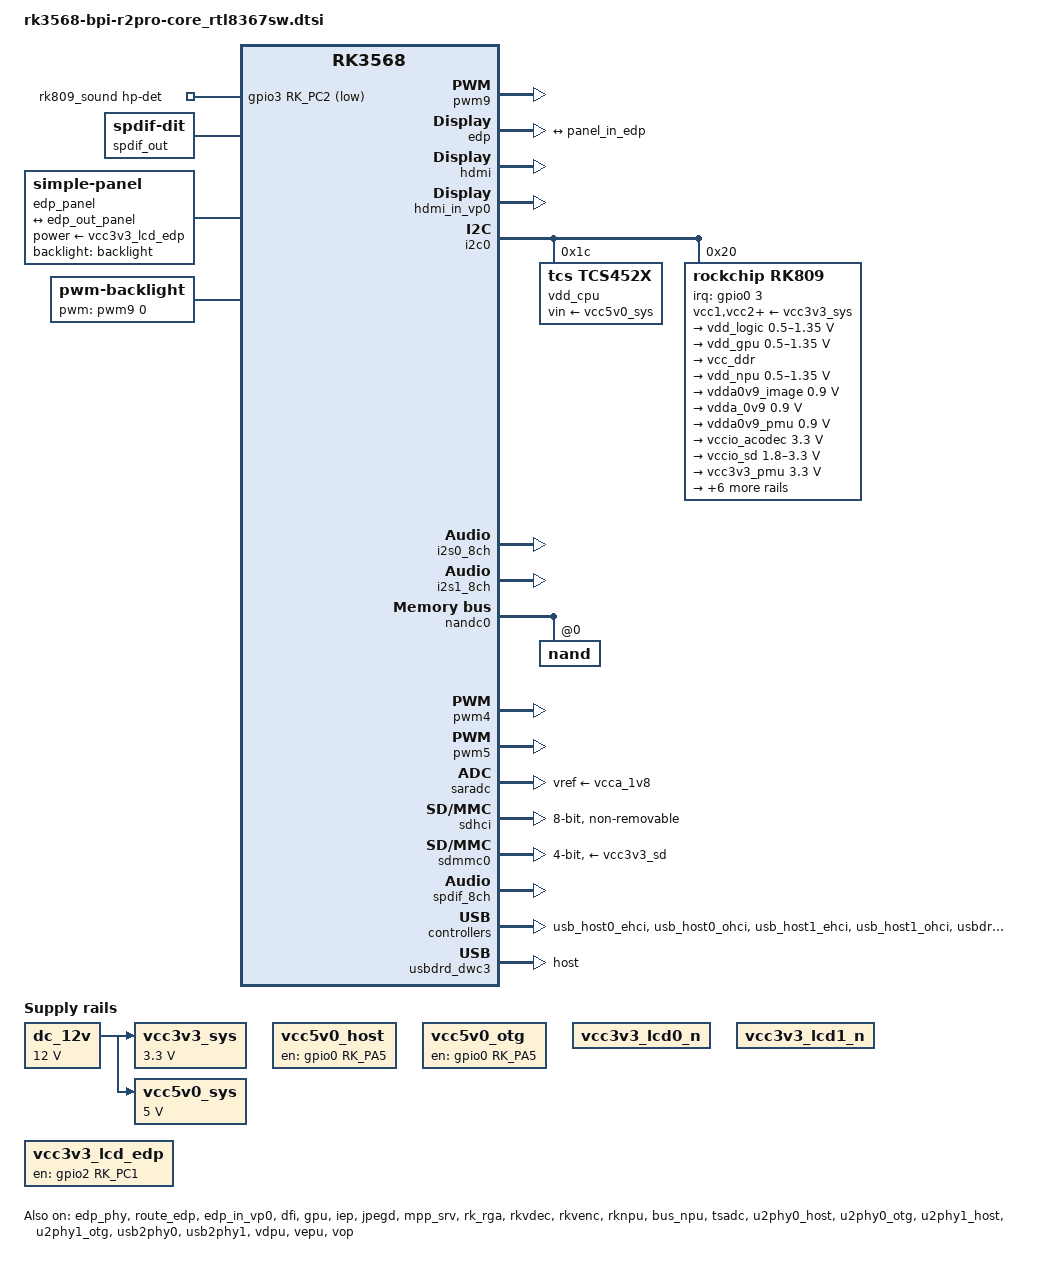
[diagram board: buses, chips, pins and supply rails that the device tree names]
// SPDX-License-Identifier: (GPL-2.0+ OR MIT)
/*
 * Copyright (c) 2020 Rockchip Electronics Co., Ltd.
 *
 */

 /dts-v1/;

#include <dt-bindings/gpio/gpio.h>
#include <dt-bindings/pwm/pwm.h>
#include <dt-bindings/pinctrl/rockchip.h>
#include <dt-bindings/input/rk-input.h>
#include <dt-bindings/display/drm_mipi_dsi.h>
#include <dt-bindings/sensor-dev.h>
#include <dt-bindings/display/media-bus-format.h>
#include "rk3568.dtsi"
#include "rk3568-linux.dtsi"

/ {
	compatible = "rockchip,rk3568-bpi-r2pro-core", "rockchip,rk3568";

	audiopwmout_diff: audiopwmout-diff {
		status = "disabled";
		compatible = "simple-audio-card";
		simple-audio-card,format = "i2s";
		simple-audio-card,name = "rockchip,audiopwmout-diff";
		simple-audio-card,mclk-fs = <256>;
		simple-audio-card,bitclock-master = <&master>;
		simple-audio-card,frame-master = <&master>;
		simple-audio-card,cpu {
			sound-dai = <&i2s3_2ch>;
		};
		master: simple-audio-card,codec {
			sound-dai = <&dig_acodec>;
		};
	};

	dc_12v: dc-12v {
		compatible = "regulator-fixed";
		regulator-name = "dc_12v";
		regulator-always-on;
		regulator-boot-on;
		regulator-min-microvolt = <12000000>;
		regulator-max-microvolt = <12000000>;
	};

	hdmi_sound: hdmi-sound {
		compatible = "simple-audio-card";
		simple-audio-card,format = "i2s";
		simple-audio-card,mclk-fs = <128>;
		simple-audio-card,name = "rockchip,hdmi";
		status = "disabled";

		simple-audio-card,cpu {
				sound-dai = <&i2s0_8ch>;
		};
		simple-audio-card,codec {
				sound-dai = <&hdmi>;
		};
	};

	pdmics: dummy-codec {
		status = "disabled";
		compatible = "rockchip,dummy-codec";
		#sound-dai-cells = <0>;
	};

	pdm_mic_array: pdm-mic-array {
		status = "disabled";
		compatible = "simple-audio-card";
		simple-audio-card,name = "rockchip,pdm-mic-array";
		simple-audio-card,cpu {
			sound-dai = <&pdm>;
		};
		simple-audio-card,codec {
			sound-dai = <&pdmics>;
		};
	};

	rk809_sound: rk809-sound {
		status = "okay";
		compatible = "simple-audio-card";
		simple-audio-card,format = "i2s";
		simple-audio-card,name = "rockchip,rk809-codec";
		simple-audio-card,mclk-fs = <256>;

		simple-audio-card,widgets =
			"Microphone", "Mic Jack",
			"Headphone", "Headphones",
			"Speaker", "Speaker";
		simple-audio-card,routing =
			"MICL", "Mic Jack",
			"Headphones", "HPOL",
			"Headphones", "HPOR",
			"Speaker", "SPKO";
		simple-audio-card,hp-det-gpio = <&gpio3 RK_PC2 GPIO_ACTIVE_LOW>; //HP_DET_L_GPIO3_C2

		simple-audio-card,cpu {
			sound-dai = <&i2s1_8ch>;
		};
		simple-audio-card,codec {
			sound-dai = <&rk809_codec>;
		};
	};

	spdif-sound {
		status = "okay";
		compatible = "simple-audio-card";
		simple-audio-card,name = "ROCKCHIP,SPDIF";
		simple-audio-card,cpu {
				sound-dai = <&spdif_8ch>;
		};
		simple-audio-card,codec {
				sound-dai = <&spdif_out>;
		};
	};

	spdif_out: spdif-out {
			status = "okay";
			compatible = "linux,spdif-dit";
			#sound-dai-cells = <0>;
	};

	vad_sound: vad-sound {
		status = "disabled";
		compatible = "rockchip,multicodecs-card";
		rockchip,card-name = "rockchip,rk3568-vad";
		rockchip,cpu = <&i2s1_8ch>;
		rockchip,codec = <&rk809_codec>, <&vad>;
	};

	vcc3v3_sys: vcc3v3-sys {
		compatible = "regulator-fixed";
		regulator-name = "vcc3v3_sys";
		regulator-always-on;
		regulator-boot-on;
		regulator-min-microvolt = <3300000>;
		regulator-max-microvolt = <3300000>;
		vin-supply = <&dc_12v>;
	};

	vcc5v0_sys: vcc5v0-sys {
		compatible = "regulator-fixed";
		regulator-name = "vcc5v0_sys";
		regulator-always-on;
		regulator-boot-on;
		regulator-min-microvolt = <5000000>;
		regulator-max-microvolt = <5000000>;
		vin-supply = <&dc_12v>;
	};

	vcc5v0_host: vcc5v0-host-regulator {
		compatible = "regulator-fixed";
		enable-active-high;
		gpio = <&gpio0 RK_PA5 GPIO_ACTIVE_HIGH>;
		pinctrl-names = "default";
		pinctrl-0 = <&vcc5v0_host_en>;
		regulator-name = "vcc5v0_host";
		regulator-always-on;
	};

	vcc5v0_otg: vcc5v0-otg-regulator {
		compatible = "regulator-fixed";
		enable-active-high;
		gpio = <&gpio0 RK_PA5 GPIO_ACTIVE_HIGH>;
		pinctrl-names = "default";
		pinctrl-0 = <&vcc5v0_otg_en>;
		regulator-name = "vcc5v0_otg";
		regulator-always-on;
	};

	vcc3v3_lcd0_n: vcc3v3-lcd0-n {
		compatible = "regulator-fixed";
		regulator-name = "vcc3v3_lcd0_n";
		regulator-boot-on;
		regulator-state-mem {
			regulator-off-in-suspend;
		};
	};

	vcc3v3_lcd1_n: vcc3v3-lcd1-n {
		compatible = "regulator-fixed";
		regulator-name = "vcc3v3_lcd1_n";
		regulator-boot-on;
		regulator-state-mem {
			regulator-off-in-suspend;
		};
	};

	vcc3v3_lcd_edp: vcc3v3-lcd-edp {
		compatible = "regulator-fixed";
		gpio = <&gpio2 RK_PC1 GPIO_ACTIVE_HIGH>;
		enable-active-high;
		regulator-name = "vcc3v3_lcd_edp";
		regulator-boot-on;
		regulator-state-mem {
			regulator-off-in-suspend;
		};
	};

	edp_panel: edp-panel {
		compatible = "simple-panel";
		status = "okay";
		power-supply = <&vcc3v3_lcd_edp>;
		//enable-gpios = <&gpio1 RK_PA4 GPIO_ACTIVE_LOW>;  // eDP_BL_EN
		backlight = <&backlight>;
		bus-format = <MEDIA_BUS_FMT_RGB888_1X24>;
		bpc = <8>;

		display-timings {
			native-mode = <&timing0>;

			timing0: timing0 {
				clock-frequency = <138000000>;
				hactive = <1920>;
				vactive = <1080>;
				hfront-porch = <40>;
				hsync-len = <40>;
				hback-porch = <80>;
				vfront-porch = <16>;
				vsync-len = <8>;
				vback-porch = <16>;
				hsync-active = <0>;
				vsync-active = <0>;
				de-active = <0>;
				pixelclk-active = <0>;
			};
		};

		ports {
			panel_in_edp: endpoint {
				remote-endpoint = <&edp_out_panel>;
			};
		};
	};

       backlight: backlight {
	       status = "okay";
	       compatible = "pwm-backlight";
	       pwms = <&pwm9 0 500000 0>;
	       brightness-levels = < 
                          0   1   2   3   4   5   6   7   
                          8   9  10  11  12  13  14  15  
                         16  17  18  19  20  21  22  23
                         24  25  26  27  28  29  30  31
                         32  33  34  35  36  37  38  39
                         40  41  42  43  44  45  46  47
                         48  49  50  51  52  53  54  55
                         56  57  58  59  60  61  62  63
                         64  65  66  67  68  69  70  71
                         72  73  74  75  76  77  78  79
                         80  81  82  83  84  85  86  87
                         88  89  90  91  92  93  94  95
                         96  97  98  99 100 101 102 103
                        104 105 106 107 108 109 110 111
                        112 113 114 115 116 117 118 119
                        120 121 122 123 124 125 126 127
                        128 129 130 131 132 133 134 135
                        136 137 138 139 140 141 142 143
                        144 145 146 147 148 149 150 151
                        152 153 154 155 156 157 158 159
                        160 161 162 163 164 165 166 167
                        168 169 170 171 172 173 174 175
                        176 177 178 179 180 181 182 183
                        184 185 186 187 188 189 190 191
                        192 193 194 195 196 197 198 199
                        200 201 202 203 204 205 206 207
                        208 209 210 211 212 213 214 215
                        216 217 218 219 220 221 222 223
                        224 225 226 227 228 229 230 231
                        232 233 234 235 236 237 238 239
                        240 241 242 243 244 245 246 247
                        248 249 250 251 252 253 254 255>;
               default-brightness-level = <200>;
       };

	test-power {
		status = "okay";
	};
};

&pwm9 {
	status = "okay";
};

&edp {
	status = "okay";
	//hpd-gpios = <&gpio0 RK_PC2 GPIO_ACTIVE_HIGH>;
	force-hpd;

	ports {
		edp_out: port@1 {
			reg = <1>;
			#address-cells = <1>;
			#size-cells = <0>;

			edp_out_panel: endpoint@0 {
				reg = <0>;
				remote-endpoint = <&panel_in_edp>;
			};
		};
	};
};

&edp_phy {
	status = "okay";
};

&route_edp {
	status = "okay";
};

&edp_in_vp0 {
	status = "okay";
};

&edp_in_vp1 {
	status = "disabled";
};

&cpu0 {
	cpu-supply = <&vdd_cpu>;
};

&dfi {
	status = "okay";
};

&dmc {
	center-supply = <&vdd_logic>;
	status = "disabled";
};

&gpu {
	mali-supply = <&vdd_gpu>;
	status = "okay";
};

&hdmi {
	status = "okay";
};

&hdmi_in_vp0 {
	status = "okay";
};

&hdmi_in_vp1 {
	status = "disabled";
};

&hdmi_sound {
	status = "disabled";
};

&i2c0 {
	status = "okay";

	vdd_cpu: tcs4525@1c {
		compatible = "tcs,tcs452x";
		reg = <0x1c>;
		vin-supply = <&vcc5v0_sys>;
		regulator-compatible = "fan53555-reg";
		regulator-name = "vdd_cpu";
		regulator-min-microvolt = <712500>;
		regulator-max-microvolt = <1390000>;
		regulator-ramp-delay = <2300>;
		fcs,suspend-voltage-selector = <1>;
		regulator-boot-on;
		regulator-always-on;
		regulator-state-mem {
			regulator-off-in-suspend;
		};
	};

	rk809: pmic@20 {
		compatible = "rockchip,rk809";
		reg = <0x20>;
		interrupt-parent = <&gpio0>;
		interrupts = <3 IRQ_TYPE_LEVEL_LOW>;

		pinctrl-names = "default", "pmic-sleep",
				"pmic-power-off", "pmic-reset";
		pinctrl-0 = <&pmic_int>;
		pinctrl-1 = <&soc_slppin_slp>, <&rk817_slppin_slp>;
		pinctrl-2 = <&soc_slppin_gpio>, <&rk817_slppin_pwrdn>;
		pinctrl-3 = <&soc_slppin_gpio>, <&rk817_slppin_rst>;

		rockchip,system-power-controller;
		wakeup-source;
		#clock-cells = <1>;
		clock-output-names = "rk808-clkout1", "rk808-clkout2";
		//fb-inner-reg-idxs = <2>;
		/* 1: rst regs (default in codes), 0: rst the pmic */
		pmic-reset-func = <0>;
		/* not save the PMIC_POWER_EN register in uboot */
		not-save-power-en = <1>;

		vcc1-supply = <&vcc3v3_sys>;
		vcc2-supply = <&vcc3v3_sys>;
		vcc3-supply = <&vcc3v3_sys>;
		vcc4-supply = <&vcc3v3_sys>;
		vcc5-supply = <&vcc3v3_sys>;
		vcc6-supply = <&vcc3v3_sys>;
		vcc7-supply = <&vcc3v3_sys>;
		vcc8-supply = <&vcc3v3_sys>;
		vcc9-supply = <&vcc3v3_sys>;

		pwrkey {
			status = "okay";
		};

		pinctrl_rk8xx: pinctrl_rk8xx {
			gpio-controller;
			#gpio-cells = <2>;

			rk817_slppin_null: rk817_slppin_null {
				pins = "gpio_slp";
				function = "pin_fun0";
			};

			rk817_slppin_slp: rk817_slppin_slp {
				pins = "gpio_slp";
				function = "pin_fun1";
			};

			rk817_slppin_pwrdn: rk817_slppin_pwrdn {
				pins = "gpio_slp";
				function = "pin_fun2";
			};

			rk817_slppin_rst: rk817_slppin_rst {
				pins = "gpio_slp";
				function = "pin_fun3";
			};
		};

		regulators {
			vdd_logic: DCDC_REG1 {
				regulator-always-on;
				regulator-boot-on;
				regulator-min-microvolt = <500000>;
				regulator-max-microvolt = <1350000>;
				regulator-init-microvolt = <900000>;
				regulator-ramp-delay = <6001>;
				regulator-initial-mode = <0x2>;
				regulator-name = "vdd_logic";
				regulator-state-mem {
					regulator-off-in-suspend;
				};
			};

			vdd_gpu: DCDC_REG2 {
				regulator-always-on;
				regulator-boot-on;
				regulator-min-microvolt = <500000>;
				regulator-max-microvolt = <1350000>;
				regulator-init-microvolt = <900000>;
				regulator-ramp-delay = <6001>;
				regulator-initial-mode = <0x2>;
				regulator-name = "vdd_gpu";
				regulator-state-mem {
					regulator-off-in-suspend;
				};
			};

			vcc_ddr: DCDC_REG3 {
				regulator-always-on;
				regulator-boot-on;
				regulator-initial-mode = <0x2>;
				regulator-name = "vcc_ddr";
				regulator-state-mem {
					regulator-on-in-suspend;
				};
			};

			vdd_npu: DCDC_REG4 {
				regulator-always-on;
				regulator-boot-on;
				regulator-min-microvolt = <500000>;
				regulator-max-microvolt = <1350000>;
				regulator-init-microvolt = <900000>;
				regulator-ramp-delay = <6001>;
				regulator-initial-mode = <0x2>;
				regulator-name = "vdd_npu";
				regulator-state-mem {
					regulator-off-in-suspend;
				};
			};

			vdda0v9_image: LDO_REG1 {
				regulator-boot-on;
				regulator-always-on;
				regulator-min-microvolt = <900000>;
				regulator-max-microvolt = <900000>;
				regulator-name = "vdda0v9_image";
				regulator-state-mem {
					regulator-off-in-suspend;
				};
			};

			vdda_0v9: LDO_REG2 {
				regulator-always-on;
				regulator-boot-on;
				regulator-min-microvolt = <900000>;
				regulator-max-microvolt = <900000>;
				regulator-name = "vdda_0v9";
				regulator-state-mem {
					regulator-off-in-suspend;
				};
			};

			vdda0v9_pmu: LDO_REG3 {
				regulator-always-on;
				regulator-boot-on;
				regulator-min-microvolt = <900000>;
				regulator-max-microvolt = <900000>;
				regulator-name = "vdda0v9_pmu";
				regulator-state-mem {
					regulator-on-in-suspend;
					regulator-suspend-microvolt = <900000>;
				};
			};

			vccio_acodec: LDO_REG4 {
				regulator-always-on;
				regulator-boot-on;
				regulator-min-microvolt = <3300000>;
				regulator-max-microvolt = <3300000>;
				regulator-name = "vccio_acodec";
				regulator-state-mem {
					regulator-off-in-suspend;
				};
			};

			vccio_sd: LDO_REG5 {
				regulator-always-on;
				regulator-boot-on;
				regulator-min-microvolt = <1800000>;
				regulator-max-microvolt = <3300000>;
				regulator-name = "vccio_sd";
				regulator-state-mem {
					regulator-off-in-suspend;
				};
			};

			vcc3v3_pmu: LDO_REG6 {
				regulator-always-on;
				regulator-boot-on;
				regulator-min-microvolt = <3300000>;
				regulator-max-microvolt = <3300000>;
				regulator-name = "vcc3v3_pmu";
				regulator-state-mem {
					regulator-on-in-suspend;
					regulator-suspend-microvolt = <3300000>;
				};
			};

			vcca_1v8: LDO_REG7 {
				regulator-always-on;
				regulator-boot-on;
				regulator-min-microvolt = <1800000>;
				regulator-max-microvolt = <1800000>;
				regulator-name = "vcca_1v8";
				regulator-state-mem {
					regulator-off-in-suspend;
				};
			};

			vcca1v8_pmu: LDO_REG8 {
				regulator-always-on;
				regulator-boot-on;
				regulator-min-microvolt = <1800000>;
				regulator-max-microvolt = <1800000>;
				regulator-name = "vcca1v8_pmu";
				regulator-state-mem {
					regulator-on-in-suspend;
					regulator-suspend-microvolt = <1800000>;
				};
			};

			vcca1v8_image: LDO_REG9 {
				regulator-always-on;
				regulator-boot-on;
				regulator-min-microvolt = <1800000>;
				regulator-max-microvolt = <1800000>;
				regulator-name = "vcca1v8_image";
				regulator-state-mem {
					regulator-off-in-suspend;
				};
			};

			vcc_1v8: DCDC_REG5 {
				regulator-always-on;
				regulator-boot-on;
				regulator-min-microvolt = <1800000>;
				regulator-max-microvolt = <1800000>;
				regulator-name = "vcc_1v8";
				regulator-state-mem {
					regulator-off-in-suspend;
				};
			};

			vcc_3v3: SWITCH_REG1 {
				regulator-always-on;
				regulator-boot-on;
				regulator-name = "vcc_3v3";
				regulator-state-mem {
					regulator-off-in-suspend;
				};
			};

			vcc3v3_sd: SWITCH_REG2 {
				regulator-always-on;
				regulator-boot-on;
				regulator-name = "vcc3v3_sd";
				regulator-state-mem {
					regulator-off-in-suspend;
				};
			};
		};

		rk809_codec: codec {
			#sound-dai-cells = <0>;
			compatible = "rockchip,rk809-codec", "rockchip,rk817-codec";
			clocks = <&cru I2S1_MCLKOUT>;
			clock-names = "mclk";
			assigned-clocks = <&cru I2S1_MCLKOUT>, <&cru I2S1_MCLK_TX_IOE>;
			assigned-clock-rates = <12288000>;
			assigned-clock-parents = <&cru I2S1_MCLKOUT_TX>, <&cru I2S1_MCLKOUT_TX>;
			pinctrl-names = "default";
			pinctrl-0 = <&i2s1m0_mclk>;
			hp-volume = <20>;
			spk-volume = <3>;
			mic-in-differential;
			status = "okay";
		};
	};
};

&i2s0_8ch {
	status = "okay";
};

&i2s1_8ch {
	status = "okay";
	rockchip,clk-trcm = <1>;
	pinctrl-names = "default";
	pinctrl-0 = <&i2s1m0_sclktx
		     &i2s1m0_lrcktx
		     &i2s1m0_sdi0
		     &i2s1m0_sdo0>;
};

&iep {
	status = "okay";
};

&iep_mmu {
	status = "okay";
};

&jpegd {
	status = "okay";
};

&jpegd_mmu {
	status = "okay";
};

&mpp_srv {
	status = "okay";
};

&nandc0 {
	#address-cells = <1>;
	#size-cells = <0>;
	status = "okay";

	nand@0 {
		reg = <0>;
		nand-bus-width = <8>;
		nand-ecc-mode = "hw";
		nand-ecc-strength = <16>;
		nand-ecc-step-size = <1024>;
	};
};

&pmu_io_domains {
	status = "okay";
	pmuio1-supply = <&vcc3v3_pmu>;
	pmuio2-supply = <&vcc3v3_pmu>;
	vccio1-supply = <&vccio_acodec>;
	vccio3-supply = <&vccio_sd>;
	vccio4-supply = <&vcc_1v8>;
	vccio5-supply = <&vcc_3v3>;
	vccio6-supply = <&vcc_3v3>;
	vccio7-supply = <&vcc_3v3>;
};

&pwm4 {
	status = "okay";
};

&pwm5 {
	status = "okay";
};

&rk_rga {
	status = "okay";
};

&rkvdec {
	status = "okay";
};

&rkvdec_mmu {
	status = "okay";
};

&rkvenc {
	venc-supply = <&vdd_logic>;
	status = "okay";
};

&rkvenc_mmu {
	status = "okay";
};

&rknpu {
	rknpu-supply = <&vdd_npu>;
	status = "okay";
};

&rknpu_mmu {
	status = "okay";
};

&bus_npu {
	bus-supply = <&vdd_logic>;
	pvtm-supply = <&vdd_cpu>;
	status = "okay";
};

&saradc {
	status = "okay";
	vref-supply = <&vcca_1v8>;
};

&sdhci {
	bus-width = <8>;
	supports-emmc;
	non-removable;
	max-frequency = <200000000>;
	status = "okay";
};

&sdmmc0 {
	max-frequency = <150000000>;
	supports-sd;
	bus-width = <4>;
	cap-mmc-highspeed;
	cap-sd-highspeed;
	disable-wp;
	sd-uhs-sdr104;
	vmmc-supply = <&vcc3v3_sd>;
	vqmmc-supply = <&vccio_sd>;
	pinctrl-names = "default";
	pinctrl-0 = <&sdmmc0_bus4 &sdmmc0_clk &sdmmc0_cmd &sdmmc0_det>;
	status = "okay";
};

&spdif_8ch {
	status = "okay";
};

&tsadc {
	status = "okay";
};

&u2phy0_host {
	phy-supply = <&vcc5v0_host>;
	status = "okay";
};

&u2phy0_otg {
	vbus-supply = <&vcc5v0_otg>;
	status = "okay";
};

&u2phy1_host {
	phy-supply = <&vcc5v0_host>;
	status = "okay";
};

&u2phy1_otg {
	phy-supply = <&vcc5v0_host>;
	status = "okay";
};

&usb2phy0 {
	status = "okay";
};

&usb2phy1 {
	status = "okay";
};

&usb_host0_ehci {
	status = "okay";
};

&usb_host0_ohci {
	status = "okay";
};

&usb_host1_ehci {
	status = "okay";
};

&usb_host1_ohci {
	status = "okay";
};

&usbdrd_dwc3 {
	dr_mode = "host";
	extcon = <&usb2phy0>;
	status = "okay";
};

&usbdrd30 {
	status = "okay";
};

&usbhost_dwc3 {
	status = "okay";
};

&usbhost30 {
	status = "okay";
};

&vad {
	rockchip,audio-src = <&i2s1_8ch>;
	rockchip,buffer-time-ms = <128>;
	rockchip,det-channel = <0>;
	rockchip,mode = <0>;
};

&vdpu {
	status = "okay";
};

&vdpu_mmu {
	status = "okay";
};

&vepu {
	status = "okay";
};

&vepu_mmu {
	status = "okay";
};

&vop {
	status = "okay";
	assigned-clocks = <&cru DCLK_VOP0>, <&cru DCLK_VOP1>;
	assigned-clock-parents = <&pmucru PLL_HPLL>, <&cru PLL_VPLL>;
};

&vop_mmu {
	status = "okay";
};

&pinctrl {

	pmic {
		pmic_int: pmic_int {
			rockchip,pins =
				<0 RK_PA3 RK_FUNC_GPIO &pcfg_pull_up>;
		};

		soc_slppin_gpio: soc_slppin_gpio {
			rockchip,pins =
				<0 RK_PA2 RK_FUNC_GPIO &pcfg_output_low_pull_down>;
		};

		soc_slppin_slp: soc_slppin_slp {
			rockchip,pins =
				<0 RK_PA2 RK_FUNC_1 &pcfg_pull_up>;
		};

		soc_slppin_rst: soc_slppin_rst {
			rockchip,pins =
				<0 RK_PA2 RK_FUNC_2 &pcfg_pull_none>;
		};

		spk_ctl_gpio: spk_ctl_gpio {
			rockchip,pins = <3 RK_PC5 RK_FUNC_GPIO &pcfg_pull_up>;
		};
	};

	usb {
		vcc5v0_host_en: vcc5v0-host-en {
			rockchip,pins = <0 RK_PA5 RK_FUNC_GPIO &pcfg_pull_none>;
		};

		vcc5v0_otg_en: vcc5v0-otg-en {
			rockchip,pins = <0 RK_PA5 RK_FUNC_GPIO &pcfg_pull_none>;
		};
	};
};
